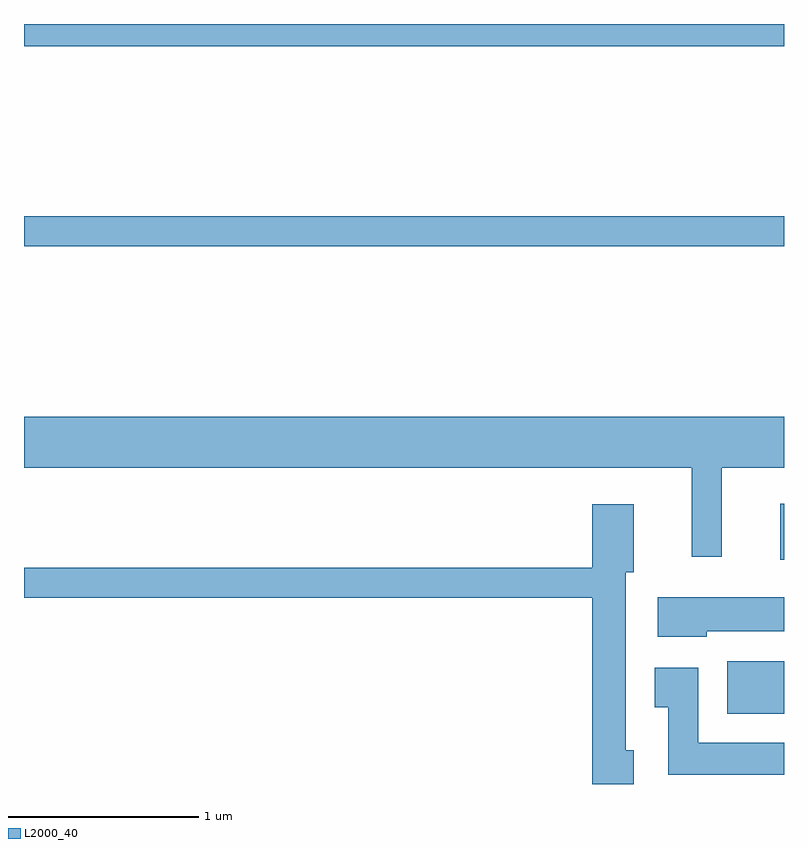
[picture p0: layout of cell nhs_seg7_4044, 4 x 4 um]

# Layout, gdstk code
import gdstk
lib = gdstk.Library(unit=1e-6, precision=1e-09)
def R(c, l, rs):  # rectangles x0, y0, x1, y1
    for r in rs: c.add(gdstk.rectangle(r[:2], r[2:], *l))
def P(c, l, *ps):  # polygons
    for p in ps: c.add(gdstk.Polygon(p, *l))
L2000_40 = (2000, 40)

nhs_seg7_4044 = lib.new_cell('nhs_seg7_4044')
R(nhs_seg7_4044, L2000_40, [(313.311,1668.621,313.611,1668.899), (313.591,1669.431,313.611,1669.728), (309.611,1671.081,313.611,1671.239), (309.611,1672.136,313.611,1672.252)])
P(nhs_seg7_4044, L2000_40, [(313.284,1669.916),(313.611,1669.916),(313.611,1670.184),(309.611,1670.184),(309.611,1669.916),(313.126,1669.916),(313.126,1669.448),(313.284,1669.448)],
  [(312.819,1668.429),(312.779,1668.429),(312.779,1669.366),(312.819,1669.366),(312.819,1669.724),(312.601,1669.724),(312.601,1669.389),(309.611,1669.389),(309.611,1669.231),(312.601,1669.231),(312.601,1668.252),(312.819,1668.252)],
  [(313.204,1669.056),(313.611,1669.056),(313.611,1669.234),(312.946,1669.234),(312.946,1669.026),(313.204,1669.026)],
  [(313.611,1668.469),(313.159,1668.469),(313.159,1668.864),(312.931,1668.864),(312.931,1668.656),(313.001,1668.656),(313.001,1668.301),(313.611,1668.301)])

lib.write_gds('nhs_seg7_4044.gds')
